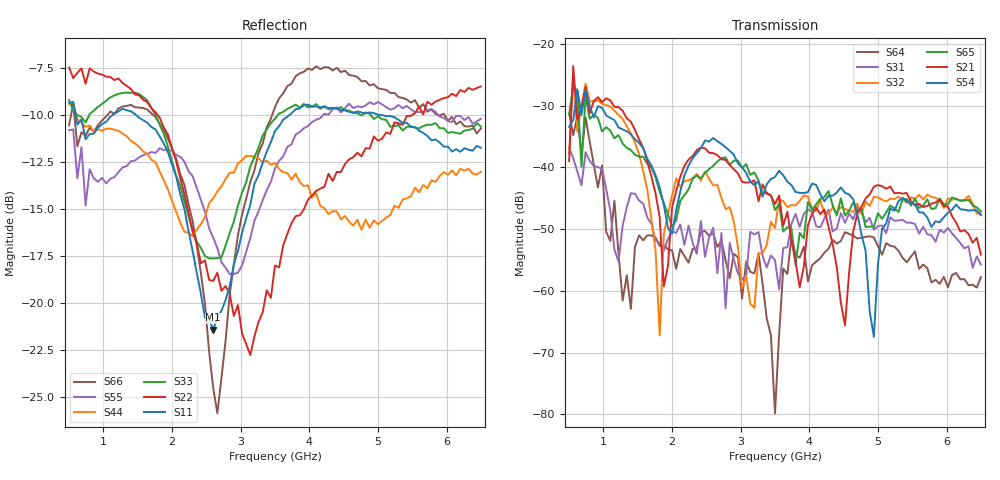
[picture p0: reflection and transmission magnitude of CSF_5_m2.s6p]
!Keysight Technologies,M9804A,MY58100912,A.14.10.03
!Date: Thursday, April 27, 2023 10:28:33
!Correction: S11(C  6-Port  )
!S12(C  6-Port  )
!S13(C  6-Port  )
!S14(C  6-Port  )
!S15(C  6-Port  )
!S16(C  6-Port  )
!S21(C  6-Port  )
!S22(C  6-Port  )
!S23(C  6-Port  )
!S24(C  6-Port  )
!S25(C  6-Port  )
!S26(C  6-Port  )
!S31(C  6-Port  )
!S32(C  6-Port  )
!S33(C  6-Port  )
!S34(C  6-Port  )
!S35(C  6-Port  )
!S36(C  6-Port  )
!S41(C  6-Port  )
!S42(C  6-Port  )
!S43(C  6-Port  )
!S44(C  6-Port  )
!S45(C  6-Port  )
!S46(C  6-Port  )
!S51(C  6-Port  )
!S52(C  6-Port  )
!S53(C  6-Port  )
!S54(C  6-Port  )
!S55(C  6-Port  )
!S56(C  6-Port  )
!S61(C  6-Port  )
!S62(C  6-Port  )
!S63(C  6-Port  )
!S64(C  6-Port  )
!S65(C  6-Port  )
!S66(C  6-Port  )
!S6P File: Measurement: :
# Hz S  RI  R 50
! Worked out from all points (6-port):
!   101 points, 500 MHz to 6.5 GHz, reference 50 ohm
!   strongest paths, dB at 500 MHz, 2 GHz, 3.5 GHz, 5 GHz, 6.5 GHz:
!     S54: -33.4, -50.8, -41.5, -55.7, -47.7
!     S21: -39.0, -46.5, -45.9, -42.9, -54.1
!     S65: -31.4, -49.6, -46.9, -47.4, -47.1
!     S32: -37.7, -44.6, -49.8, -44.9, -47.4
!     S31: -36.8, -50.3, -55.0, -49.5, -55.7
!     S64: -31.1, -53.4, -79.8, -52.7, -57.8
!   lowest |S11| = -21.4 dB at 2.6 GHz (marker M1), VSWR 1.19, Z = 42.5 + j2.29 ohm
!   |S11| at or under -10 dB: 593.2 MHz to 1.143 GHz (549.8 MHz wide, 63.3 % of centre); 1.469 GHz to 3.718 GHz (2.248 GHz wide, 86.7 % of centre); 4.995 GHz to end of sweep
